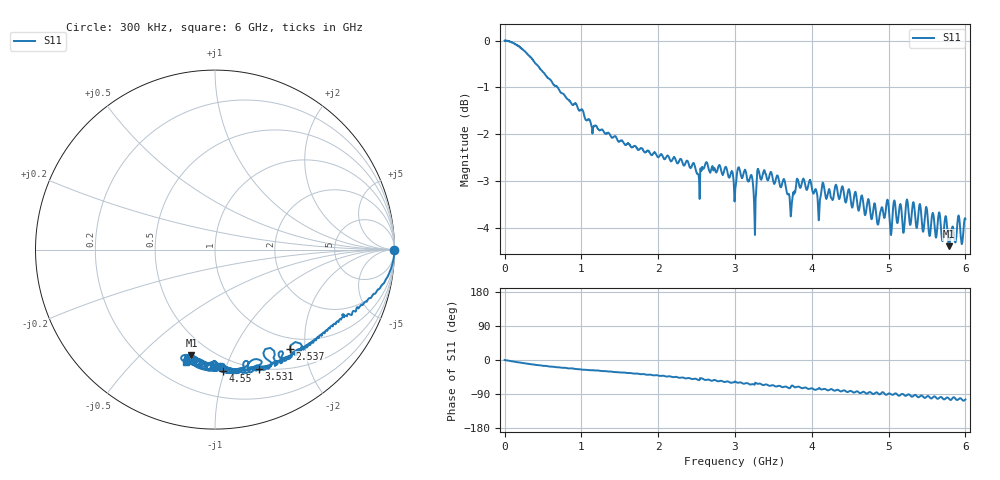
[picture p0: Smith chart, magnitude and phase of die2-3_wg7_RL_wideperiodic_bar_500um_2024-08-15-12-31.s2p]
!Keysight Technologies,P9374A,MY57304198,A.17.20.09
!Date: Thursday, August 15, 2024 12:31:35
!Correction: S11(C  1-Port  )
!S21(C  1-Port  )
!S12(Off)
!S22(Off)
!S2P File: Measurements: S11, S21, S12, S22:
# Hz S  dB  R 50
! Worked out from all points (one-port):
!   6000 points, 300 kHz to 6 GHz, reference 50 ohm
!   lowest |S11| = -4.4 dB at 5.787 GHz (marker M1), VSWR 4.04, Z = 19.6 - j36.2 ohm
!   |S11| at or under -10 dB: nowhere
!   S11 on the Smith chart (normalised r, x): 300 kHz: open; 2.537 GHz: 0.81, -1.71; 3.531 GHz: 0.49, -1.31; 4.55 GHz: 0.39, -0.99; 6 GHz: 0.34, -0.72
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300000  -0.00 -0.0  -200.00 45.0  -200.00 45.0  -200.00 45.0
4.123481e8  -0.51 -13.2  -200.00 45.0  -200.00 45.0  -200.00 45.0
1.000417e9  -1.47 -25.4  -200.00 45.0  -200.00 45.0  -200.00 45.0
2.000533e9  -2.49 -41.0  -200.00 45.0  -200.00 45.0  -200.00 45.0
2.536596e9  -3.21 -52.9  -200.00 45.0  -200.00 45.0  -200.00 45.0
2.5726e9  -2.70 -48.8  -200.00 45.0  -200.00 45.0  -200.00 45.0
2.869635e9  -2.72 -58.0  -200.00 45.0  -200.00 45.0  -200.00 45.0
3.00065e9  -3.24 -56.6  -200.00 45.0  -200.00 45.0  -200.00 45.0
3.120664e9  -2.79 -62.5  -200.00 45.0  -200.00 45.0  -200.00 45.0
3.230677e9  -3.01 -63.5  -200.00 45.0  -200.00 45.0  -200.00 45.0
3.26068e9  -4.11 -61.4  -200.00 45.0  -200.00 45.0  -200.00 45.0
3.308686e9  -2.78 -62.4  -200.00 45.0  -200.00 45.0  -200.00 45.0
3.530712e9  -2.97 -70.0  -200.00 45.0  -200.00 45.0  -200.00 45.0
3.697731e9  -3.28 -74.0  -200.00 45.0  -200.00 45.0  -200.00 45.0
3.743737e9  -3.43 -67.4  -200.00 45.0  -200.00 45.0  -200.00 45.0
4.000767e9  -3.14 -74.6  -200.00 45.0  -200.00 45.0  -200.00 45.0
4.549831e9  -3.35 -86.1  -200.00 45.0  -200.00 45.0  -200.00 45.0
5.000883e9  -3.55 -88.4  -200.00 45.0  -200.00 45.0  -200.00 45.0
5.408931e9  -3.50 -95.8  -200.00 45.0  -200.00 45.0  -200.00 45.0
5.786975e9  -4.39 -102.6  -200.00 45.0  -200.00 45.0  -200.00 45.0
5.850983e9  -4.13 -98.3  -200.00 45.0  -200.00 45.0  -200.00 45.0
6e9  -3.81 -104.1  -200.00 45.0  -200.00 45.0  -200.00 45.0
